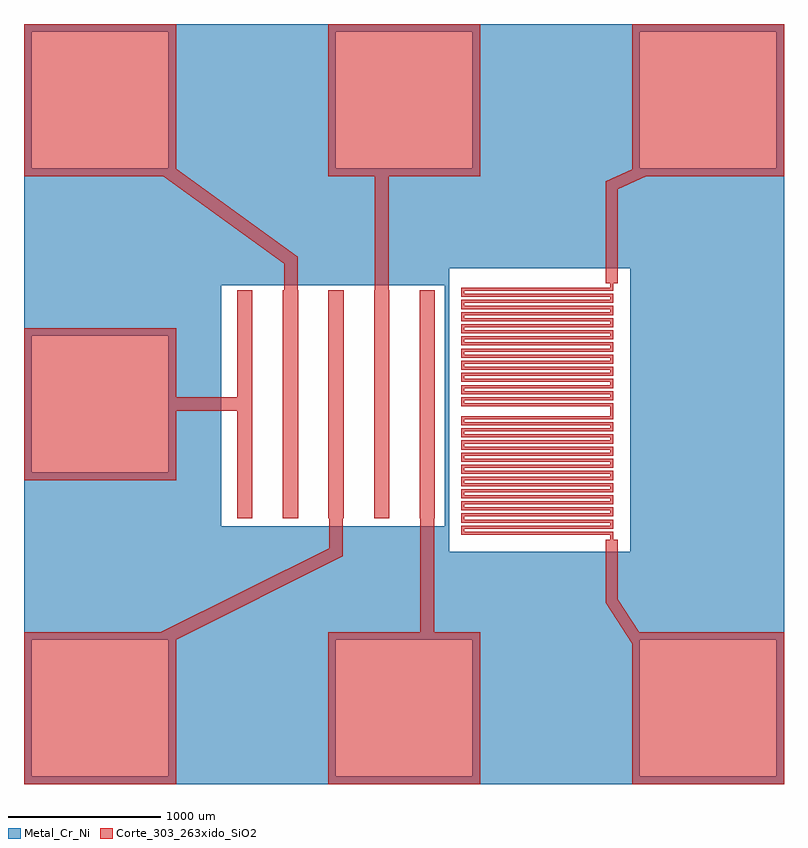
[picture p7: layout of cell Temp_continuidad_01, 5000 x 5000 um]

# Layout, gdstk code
import gdstk
lib = gdstk.Library(unit=1e-6, precision=1e-06)
def P(c, l, *ps):  # polygons
    for p in ps: c.add(gdstk.Polygon(p, *l))
Corte_303_263xido_SiO2 = (1, 0)
Metal_Cr_Ni = (2, 0)

temp_continuidad_01 = lib.new_cell('Temp_continuidad_01')
P(temp_continuidad_01, Corte_303_263xido_SiO2, [(451618,-336),(451618,664),(452516,664),(453625,1216),(453625,1414),(453621,1414),(453621,2914),(453721,2914),(453721,1414),(453715,1414),(453715,1161),(452618,614),(452618,-336)],
  [(453021,1414),(453021,2119),(452618,2119),(452618,1664),(451618,1664),(451618,2664),(452618,2664),(452618,2209),(453021,2209),(453021,2914),(453121,2914),(453121,1414)],
  [(453618,-336),(453618,664),(454226,664),(454226,1414),(454221,1414),(454221,2914),(454321,2914),(454321,1414),(454316,1414),(454316,664),(454618,664),(454618,-336)],
  [(453321,1414),(453321,2914),(453329,2914),(453329,3086),(452533,3664),(451618,3664),(451618,4664),(452618,4664),(452618,3713),(453419,3132),(453419,2914),(453421,2914),(453421,1414)],
  [(455618,-336),(455618,588),(455445,855),(455445,1272),(455476,1272),(455476,1304),(454496,1304),(454496,1364),(455476,1364),(455476,1384),(454496,1384),(454496,1444),(455476,1444),(455476,1464),(454496,1464),(454496,1524),(455476,1524),(455476,1544),(454496,1544),(454496,1604),(455476,1604),(455476,1624),(454496,1624),(454496,1684),(455476,1684),(455476,1704),(454496,1704),(454496,1764),(455476,1764),(455476,1784),(454496,1784),(454496,1844),(455476,1844),(455476,1864),(454496,1864),(454496,1924),(455476,1924),(455476,1944),(454496,1944),(454496,2004),(455476,2004),(455476,2024),(454496,2024),(454496,2084),(455476,2084),(455476,2107),(455474,2107),(455476,2109),(455476,2149),(454496,2149),(454496,2209),(455476,2209),(455476,2229),(454496,2229),(454496,2289),(455476,2289),(455476,2309),(454496,2309),(454496,2369),(455476,2369),(455476,2389),(454496,2389),(454496,2449),(455476,2449),(455476,2469),(454496,2469),(454496,2529),(455476,2529),(455476,2549),(454496,2549),(454496,2609),(455476,2609),(455476,2629),(454496,2629),(454496,2689),(455476,2689),(455476,2709),(454496,2709),(454496,2769),(455476,2769),(455476,2789),(454496,2789),(454496,2849),(455476,2849),(455476,2869),(454496,2869),(454496,2929),(455476,2929),(455476,2959),(455445,2959),(455445,3628),(455618,3709),(455618,4664),(456618,4664),(456618,3664),(455711,3664),(455525,3577),(455525,2959),(455496,2959),(455496,2909),(454516,2909),(454516,2889),(455496,2889),(455496,2829),(454516,2829),(454516,2809),(455496,2809),(455496,2749),(454516,2749),(454516,2729),(455496,2729),(455496,2669),(454516,2669),(454516,2649),(455496,2649),(455496,2589),(454516,2589),(454516,2569),(455496,2569),(455496,2509),(454516,2509),(454516,2489),(455496,2489),(455496,2429),(454516,2429),(454516,2409),(455496,2409),(455496,2349),(454516,2349),(454516,2329),(455496,2329),(455496,2269),(454516,2269),(454516,2249),(455496,2249),(455496,2189),(454516,2189),(454516,2169),(455496,2169),(455496,2064),(454516,2064),(454516,2044),(455496,2044),(455496,1984),(454516,1984),(454516,1964),(455496,1964),(455496,1904),(454516,1904),(454516,1884),(455496,1884),(455496,1824),(454516,1824),(454516,1804),(455496,1804),(455496,1744),(454516,1744),(454516,1724),(455496,1724),(455496,1664),(454516,1664),(454516,1644),(455496,1644),(455496,1584),(454516,1584),(454516,1564),(455496,1564),(455496,1504),(454516,1504),(454516,1484),(455496,1484),(455496,1424),(454516,1424),(454516,1404),(455496,1404),(455496,1344),(454516,1344),(454516,1324),(455496,1324),(455496,1272),(455525,1272),(455525,879),(455665,664),(456618,664),(456618,-336)],
  [(453921,1414),(453921,2914),(453927,2914),(453927,3664),(453618,3664),(453618,4664),(454618,4664),(454618,3664),(454017,3664),(454017,2914),(454021,2914),(454021,1414)])
P(temp_continuidad_01, Metal_Cr_Ni, [(451618,-336),(451618,614),(451668,614),(451668,-286),(452568,-286),(452568,614),(453668,614),(453668,-286),(454568,-286),(454568,614),(455668,614),(455668,-286),(456568,-286),(456568,614),(451618,614),(451618,2614),(451668,2614),(451668,1714),(452568,1714),(452568,2614),(451618,2614),(451618,2945),(452915,2945),(452915,1360),(454387,1360),(454387,2945),(451618,2945),(451618,3057),(454415,3057),(454415,1192),(455607,1192),(455607,3057),(451618,3057),(451618,4614),(451668,4614),(451668,3714),(452568,3714),(452568,4614),(453668,4614),(453668,3714),(454568,3714),(454568,4614),(455668,4614),(455668,3714),(456568,3714),(456568,4614),(451618,4614),(451618,4664),(456618,4664),(456618,-336)])

lib.write_gds('Temp_continuidad_01.gds')
